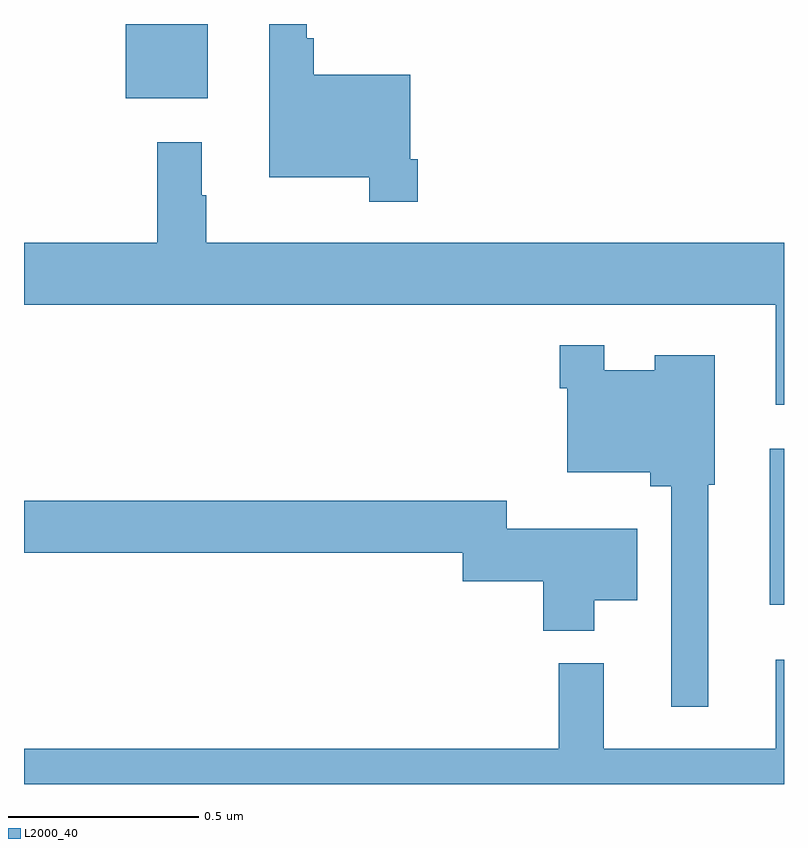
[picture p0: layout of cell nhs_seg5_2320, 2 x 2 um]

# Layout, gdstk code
import gdstk
lib = gdstk.Library(unit=1e-6, precision=1e-09)
def R(c, l, rs):  # rectangles x0, y0, x1, y1
    for r in rs: c.add(gdstk.rectangle(r[:2], r[2:], *l))
def P(c, l, *ps):  # polygons
    for p in ps: c.add(gdstk.Polygon(p, *l))
L2000_40 = (2000, 40)

nhs_seg5_2320 = lib.new_cell('nhs_seg5_2320')
R(nhs_seg5_2320, L2000_40, [(143.963,889.271,144,889.681), (142.268,890.603,142.483,890.799)])
P(nhs_seg5_2320, L2000_40, [(143.036,890.443),(143.016,890.443),(143.016,890.665),(142.763,890.665),(142.763,890.761),(142.744,890.761),(142.744,890.799),(142.646,890.799),(142.646,890.396),(142.908,890.396),(142.908,890.331),(143.036,890.331)],
  [(144,890.224),(142.48,890.224),(142.48,890.348),(142.468,890.348),(142.468,890.488),(142.351,890.488),(142.351,890.224),(142,890.224),(142,890.06),(143.978,890.06),(143.978,889.797),(144,889.797)],
  [(143.8,889.587),(143.818,889.587),(143.818,889.927),(143.66,889.927),(143.66,889.888),(143.527,889.888),(143.527,889.954),(143.41,889.954),(143.41,889.841),(143.43,889.841),(143.43,889.619),(143.648,889.619),(143.648,889.583),(143.703,889.583),(143.703,889.002),(143.8,889.002)],
  [(143.5,889.283),(143.614,889.283),(143.614,889.471),(143.271,889.471),(143.271,889.544),(142,889.544),(142,889.408),(143.155,889.408),(143.155,889.332),(143.366,889.332),(143.366,889.202),(143.5,889.202)],
  [(144,889.126),(143.978,889.126),(143.978,888.892),(143.525,888.892),(143.525,889.117),(143.407,889.117),(143.407,888.892),(142,888.892),(142,888.799),(144,888.799)])

lib.write_gds('nhs_seg5_2320.gds')
